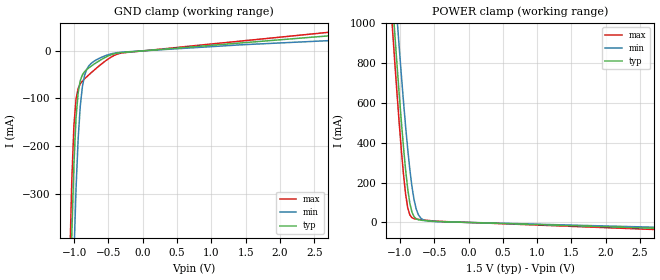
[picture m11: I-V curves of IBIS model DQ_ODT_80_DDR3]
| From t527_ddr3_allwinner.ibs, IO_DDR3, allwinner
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|   Model DQ_ODT_80_DDR3
[Model] DQ_ODT_80_DDR3
Model_type Input
Polarity   Non-Inverting
Enable   Active-High
Vinl =  0.750V
Vinh =  0.750V
C_comp   1.553pF   1.518pF   1.598pF
C_comp_power_clamp   0.495pF   0.477pF   0.516pF
C_comp_gnd_clamp   0.795pF   0.776pF   0.820pF
[Model Spec]
Vinh   0.750V   0.712V   0.787V
Vinl   0.750V   0.712V   0.787V
[Temperature Range]   25.000   0.125k   -40.000
[Voltage Range]   1.500V   1.425V   1.575V
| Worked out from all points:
|   GND clamp passes 1 mA (typ) near -0.09 V on its own axis
|   POWER clamp passes 1 mA (typ) near -0.09 V on its own axis
[GND_clamp]
|Voltage   I(typ)   I(min)   I(max)
-1.5V     -3.546A    -3.631A    -3.526A
-1.066V   -580.4mA   -810.6mA   -452.6mA
-1.035V   -388.9mA   -610.5mA   -274.3mA
-1.004V   -239.6mA   -434.2mA   -158.2mA
-973mV    -141.5mA   -290.6mA   -101.6mA
-942mV    -88.1mA    -185.1mA   -79mA
-911mV    -62.63mA   -116mA     -69.24mA
-880mV    -50.5mA    -74.99mA   -63.49mA
-818mV    -39.38mA   -39.25mA   -54.67mA
-694mV    -26.35mA   -20.3mA    -38.66mA
-291mV    -3.384mA   -2.625mA   -4.185mA
3V        34.89mA    23.47mA    43.14mA
[POWER_clamp]
|Voltage   I(typ)   I(min)   I(max)
-1.5V     3.135A     3.331A     3.026A
-1.135V   1.241A     1.47A      1.103A
-1.104V   1.086A     1.319A     945.9mA
-1.073V   934.8mA    1.169A     792.1mA
-1.042V   786.7mA    1.023A     642.4mA
-1.011V   643.4mA    879.5mA    498.6mA
-918mV    264.3mA    483mA      142.7mA
-887mV    168.1mA    367.7mA    73.68mA
-825mV    51.39mA    179.4mA    23.92mA
-732mV    13.96mA    38.91mA    15.27mA
-608mV    8.507mA    8.341mA    10.72mA
3V        -32.28mA   -26.51mA   -39.2mA
